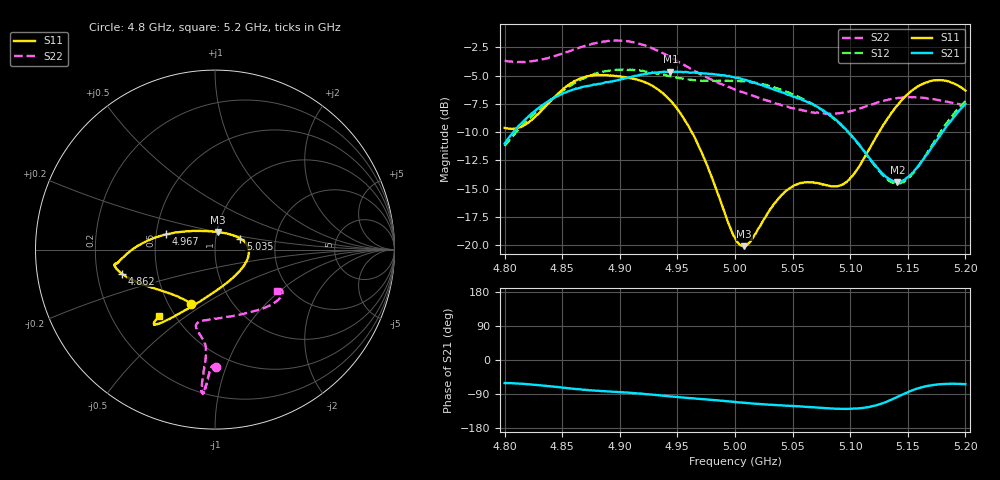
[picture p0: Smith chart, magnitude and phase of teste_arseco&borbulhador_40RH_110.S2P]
! Network Analyzer HP8722D
! Hewlett-Packard
! Data name: Linha & Wilkinson
! Saver's name: Rodrigo Anjos
! Comments: Teste da utilização de aquisição
! continua pelo VNA HP8722D
! Time and date: 15/4/2025 17:16
!  Frequency  S11  S21  S12  S22
# HZ  S  MA R 50
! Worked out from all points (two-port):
!   401 points, 4.8 GHz to 5.2 GHz, reference 50 ohm
!   highest |S21| = -4.64 dB at 4.944 GHz (marker M1); lowest = -14.4 dB at 5.141 GHz (marker M2)
!   |S21| within 3 dB of the highest: 4.832 GHz to 5.069 GHz (236.9 MHz wide, 4.79 % of centre); 5.198641 GHz to end of sweep
!   lowest |S11| = -20.1 dB at 5.008 GHz (marker M3), VSWR 1.22, Z = 50.6 + j9.98 ohm
!   |S11| at or under -10 dB: 4.962 GHz to 5.125 GHz (162.6 MHz wide, 3.22 % of centre)
!   |S22| runs from -8.4 to -1.9 dB; largest |S21 - S12| = 0.88
!   S11 on the Smith chart (normalised r, x): 4.8 GHz: 0.65, -0.44; 4.862 GHz: 0.31, -0.12; 4.967 GHz: 0.57, +0.10; 5.035 GHz: 1.32, +0.17; 5.2 GHz: 0.41, -0.40
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4.8e9  0.3302 -113.5  0.2814 -60.8  0.2745 -175.0  0.6548 -89.4
4.819e9  0.3441 -133.4  0.364 -63.7  0.3524 -173.2  0.6481 -91.2
4.839e9  0.4295 -151.8  0.436 -69.1  0.4346 -173.3  0.6771 -92.3
4.862e9  0.5357 -165.5  0.4939 -76.6  0.5258 -176.1  0.7391 -93.5
4.867e9  0.5492 -167.4  0.5008 -78.1  0.5429 -177.3  0.7537 -93.6
4.9e9  0.5573 -171.9  0.5403 -84.8  0.5965 176.0  0.8037 -95.0
4.934e9  0.4853 -177.7  0.5819 -93.2  0.5739 172.1  0.7203 -95.5
4.944e9  0.4357 177.7  0.5862 -96.1  0.5592 172.2  0.6788 -95.3
4.967e9  0.2852 162.7  0.5792 -102.0  0.5363 174.1  0.5824 -94.9
5e9  0.1078 107.7  0.5505 -110.9  0.5334 176.6  0.4883 -99.2
5.008e9  0.09891 80.7  0.5391 -112.8  0.5308 176.5  0.4729 -101.0
5.014e9  0.1051 61.8  0.5285 -114.6  0.5251 176.4  0.4612 -102.5
5.035e9  0.1544 23.4  0.4861 -118.7  0.4971 175.3  0.4236 -103.8
5.05e9  0.1816 7.4  0.455 -121.4  0.465 174.6  0.4033 -100.3
5.067e9  0.1895 -10.9  0.4211 -124.5  0.4227 174.1  0.3864 -91.9
5.086e9  0.1819 -41.4  0.3649 -128.2  0.3617 173.8  0.3818 -77.7
5.097e9  0.1902 -64.6  0.3218 -129.1  0.3201 174.4  0.3881 -68.6
5.134e9  0.3724 -115.8  0.1959 -107.0  0.1917 -159.7  0.4415 -43.3
5.141e9  0.4161 -119.8  0.1904 -97.2  0.1875 -148.8  0.4475 -40.2
5.153e9  0.4809 -124.7  0.206 -81.1  0.2032 -130.2  0.4516 -35.9
5.171e9  0.5336 -128.6  0.2719 -66.5  0.2767 -112.2  0.4429 -31.8
5.2e9  0.4831 -130.2  0.4221 -63.9  0.4337 -106.0  0.4155 -33.3
